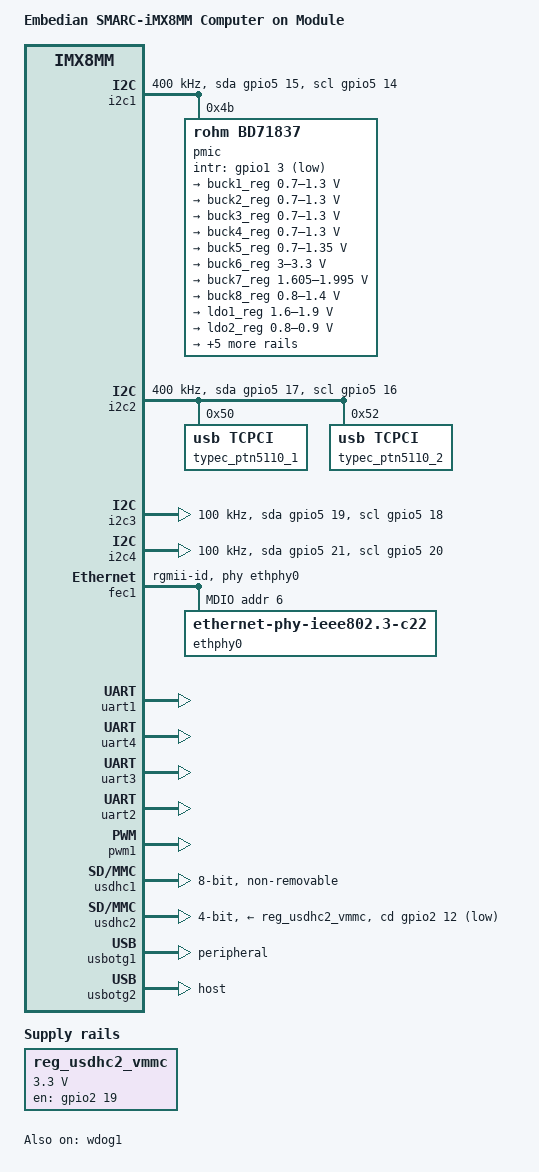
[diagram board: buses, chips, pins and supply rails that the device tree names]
/*
 * Copyright 2018 NXP
 *
 * This program is free software; you can redistribute it and/or
 * modify it under the terms of the GNU General Public License
 * as published by the Free Software Foundation; either version 2
 * of the License, or (at your option) any later version.
 *
 * This program is distributed in the hope that it will be useful,
 * but WITHOUT ANY WARRANTY; without even the implied warranty of
 * MERCHANTABILITY or FITNESS FOR A PARTICULAR PURPOSE.  See the
 * GNU General Public License for more details.
 */

/dts-v1/;

#include "fsl-imx8mm.dtsi"

/ {
	model = "Embedian SMARC-iMX8MM Computer on Module";
	compatible = "embedian,smarcimx8mm", "fsl,imx8mm";

	reg_usdhc2_vmmc: regulator-usdhc2 {
		compatible = "regulator-fixed";
		regulator-name = "VSD_3V3";
		regulator-min-microvolt = <3300000>;
		regulator-max-microvolt = <3300000>;
		gpio = <&gpio2 19 GPIO_ACTIVE_HIGH>;
		enable-active-high;
		startup-delay-us = <100>;
		off-on-delay-us = <12000>;
	};

        backlight: backlight {
                compatible = "pwm-backlight";
                pwms = <&pwm1 0 1000000 0>;
                brightness-levels = < 0  1  2  3  4  5  6  7  8  9
                                     10 11 12 13 14 15 16 17 18 19
                                     20 21 22 23 24 25 26 27 28 29
                                     30 31 32 33 34 35 36 37 38 39
                                     40 41 42 43 44 45 46 47 48 49
                                     50 51 52 53 54 55 56 57 58 59
                                     60 61 62 63 64 65 66 67 68 69
                                     70 71 72 73 74 75 76 77 78 79
                                     80 81 82 83 84 85 86 87 88 89
                                     90 91 92 93 94 95 96 97 98 99
                                    100>;
                default-brightness-level = <80>;
                status = "disabled";
        };
};

&iomuxc {
	pinctrl-names = "default";

	smarc-imx8mm {
		pinctrl_fec1: fec1grp {
			fsl,pins = <
				MX8MM_IOMUXC_ENET_MDC_ENET1_MDC		0x3
				MX8MM_IOMUXC_ENET_MDIO_ENET1_MDIO	0x3
				MX8MM_IOMUXC_ENET_TD3_ENET1_RGMII_TD3	0x1f
				MX8MM_IOMUXC_ENET_TD2_ENET1_RGMII_TD2	0x1f
				MX8MM_IOMUXC_ENET_TD1_ENET1_RGMII_TD1	0x1f
				MX8MM_IOMUXC_ENET_TD0_ENET1_RGMII_TD0	0x1f
				MX8MM_IOMUXC_ENET_RD3_ENET1_RGMII_RD3	0x91
				MX8MM_IOMUXC_ENET_RD2_ENET1_RGMII_RD2	0x91
				MX8MM_IOMUXC_ENET_RD1_ENET1_RGMII_RD1	0x91
				MX8MM_IOMUXC_ENET_RD0_ENET1_RGMII_RD0	0x91
				MX8MM_IOMUXC_ENET_TXC_ENET1_RGMII_TXC	0x1f
				MX8MM_IOMUXC_ENET_RXC_ENET1_RGMII_RXC	0x91
				MX8MM_IOMUXC_ENET_RX_CTL_ENET1_RGMII_RX_CTL	0x91
				MX8MM_IOMUXC_ENET_TX_CTL_ENET1_RGMII_TX_CTL	0x1f
				MX8MM_IOMUXC_NAND_CE3_B_GPIO3_IO4		0x41
			>;
		};

		pinctrl_flexspi0: flexspi0grp {
			fsl,pins = <
				MX8MM_IOMUXC_NAND_ALE_QSPI_A_SCLK	0x1c4
				MX8MM_IOMUXC_NAND_CE0_B_QSPI_A_SS0_B 	0x84

				MX8MM_IOMUXC_NAND_DATA00_QSPI_A_DATA0 	0x84
				MX8MM_IOMUXC_NAND_DATA01_QSPI_A_DATA1 	0x84
				MX8MM_IOMUXC_NAND_DATA02_QSPI_A_DATA2 	0x84
				MX8MM_IOMUXC_NAND_DATA03_QSPI_A_DATA3 	0x84
			>;
		};

                pinctrl_pwm1: pwm1grp {
                        fsl,pins = <
                                MX8MM_IOMUXC_SPDIF_EXT_CLK_PWM1_OUT    	0x06
                        >;
                };

		pinctrl_i2c1: i2c1grp {
			fsl,pins = <
				MX8MM_IOMUXC_I2C1_SCL_I2C1_SCL		0x400001c3
				MX8MM_IOMUXC_I2C1_SDA_I2C1_SDA		0x400001c3
			>;
		};

		pinctrl_i2c2: i2c2grp {
			fsl,pins = <
				MX8MM_IOMUXC_I2C2_SCL_I2C2_SCL		0x400001c3
				MX8MM_IOMUXC_I2C2_SDA_I2C2_SDA		0x400001c3
			>;
		};

		pinctrl_i2c3: i2c3grp {
			fsl,pins = <
				MX8MM_IOMUXC_I2C3_SCL_I2C3_SCL		0x400001c3
				MX8MM_IOMUXC_I2C3_SDA_I2C3_SDA		0x400001c3
			>;
		};

                pinctrl_i2c4: i2c4grp {
                        fsl,pins = <
                                MX8MM_IOMUXC_I2C4_SCL_I2C4_SCL         	0x400001c3
                                MX8MM_IOMUXC_I2C4_SDA_I2C4_SDA         	0x400001c3
                        >;
                };

		pinctrl_i2c1_gpio: i2c1grp-gpio {
			fsl,pins = <
				MX8MM_IOMUXC_I2C1_SCL_GPIO5_IO14        0x1c3
				MX8MM_IOMUXC_I2C1_SDA_GPIO5_IO15        0x1c3
			>;
		};

		pinctrl_i2c2_gpio: i2c2grp-gpio {
			fsl,pins = <
				MX8MM_IOMUXC_I2C2_SCL_GPIO5_IO16        0x1c3
				MX8MM_IOMUXC_I2C2_SDA_GPIO5_IO17        0x1c3
			>;
		};

		pinctrl_i2c3_gpio: i2c3grp-gpio {
			fsl,pins = <
				MX8MM_IOMUXC_I2C3_SCL_GPIO5_IO18        0x1c3
				MX8MM_IOMUXC_I2C3_SDA_GPIO5_IO19        0x1c3
			>;
		};

                pinctrl_i2c4_gpio: i2c4grp-gpio {
                        fsl,pins = <
                                MX8MM_IOMUXC_I2C4_SCL_GPIO5_IO20      	0x1c3
                                MX8MM_IOMUXC_I2C4_SDA_GPIO5_IO21       	0x1c3
                        >;
                };

		pinctrl_pmic: pmicirq {
			fsl,pins = <
				MX8MM_IOMUXC_GPIO1_IO03_GPIO1_IO3	0x41
			>;
		};

                pinctrl_uart1: uart1grp {
                        fsl,pins = <
                                MX8MM_IOMUXC_SAI2_RXC_UART1_DCE_RX     	0x49
                                MX8MM_IOMUXC_SAI2_RXFS_UART1_DCE_TX    	0x49
                                MX8MM_IOMUXC_UART3_TXD_UART1_DCE_RTS_B 	0x49
                                MX8MM_IOMUXC_UART3_RXD_UART1_DCE_CTS_B 	0x49
                        >;
                };

		pinctrl_uart2: uart2grp {
			fsl,pins = <
				MX8MM_IOMUXC_SAI3_TXFS_UART2_DCE_RX	0x49
				MX8MM_IOMUXC_SAI3_TXC_UART2_DCE_TX	0x49
			>;
		};

                pinctrl_uart3: uart3grp {
                        fsl,pins = <
                                MX8MM_IOMUXC_ECSPI1_SCLK_UART3_DCE_RX  		0x49
                                MX8MM_IOMUXC_ECSPI1_MOSI_UART3_DCE_TX  		0x49
                                MX8MM_IOMUXC_ECSPI1_SS0_UART3_DCE_RTS_B		0x49
                                MX8MM_IOMUXC_ECSPI1_MISO_UART3_DCE_CTS_B	0x49
                        >;
                };

                pinctrl_uart4: uart4grp {
                        fsl,pins = <
                                MX8MM_IOMUXC_UART4_RXD_UART4_DCE_RX    	0x49
                                MX8MM_IOMUXC_UART4_TXD_UART4_DCE_TX    	0x49
                        >;
                };

                pinctrl_usdhc1: usdhc1grp {
                        fsl,pins = <
                                MX8MM_IOMUXC_SD1_CLK_USDHC1_CLK              	0x40000190
                                MX8MM_IOMUXC_SD1_CMD_USDHC1_CMD               	0x1d0
                                MX8MM_IOMUXC_SD1_DATA0_USDHC1_DATA0           	0x1d0
                                MX8MM_IOMUXC_SD1_DATA1_USDHC1_DATA1           	0x1d0
                                MX8MM_IOMUXC_SD1_DATA2_USDHC1_DATA2           	0x1d0
                                MX8MM_IOMUXC_SD1_DATA3_USDHC1_DATA3           	0x1d0
                                MX8MM_IOMUXC_SD1_DATA4_USDHC1_DATA4           	0x1d0
                                MX8MM_IOMUXC_SD1_DATA5_USDHC1_DATA5           	0x1d0
                                MX8MM_IOMUXC_SD1_DATA6_USDHC1_DATA6           	0x1d0
                                MX8MM_IOMUXC_SD1_DATA7_USDHC1_DATA7           	0x1d0
                                MX8MM_IOMUXC_SD1_STROBE_USDHC1_STROBE         	0x190
                        >;
                };

                pinctrl_usdhc1_100mhz: usdhc1grp100mhz {
                        fsl,pins = <
                                MX8MM_IOMUXC_SD1_CLK_USDHC1_CLK                 0x40000194
                                MX8MM_IOMUXC_SD1_CMD_USDHC1_CMD                 0x1d4
                                MX8MM_IOMUXC_SD1_DATA0_USDHC1_DATA0             0x1d4
                                MX8MM_IOMUXC_SD1_DATA1_USDHC1_DATA1             0x1d4
                                MX8MM_IOMUXC_SD1_DATA2_USDHC1_DATA2             0x1d4
                                MX8MM_IOMUXC_SD1_DATA3_USDHC1_DATA3             0x1d4
                                MX8MM_IOMUXC_SD1_DATA4_USDHC1_DATA4             0x1d4
                                MX8MM_IOMUXC_SD1_DATA5_USDHC1_DATA5             0x1d4
                                MX8MM_IOMUXC_SD1_DATA6_USDHC1_DATA6             0x1d4
                                MX8MM_IOMUXC_SD1_DATA7_USDHC1_DATA7             0x1d4
                                MX8MM_IOMUXC_SD1_STROBE_USDHC1_STROBE           0x194
                        >;
                };

                pinctrl_usdhc1_200mhz: usdhc1grp200mhz {
                        fsl,pins = <
                                MX8MM_IOMUXC_SD1_CLK_USDHC1_CLK                 0x40000196
                                MX8MM_IOMUXC_SD1_CMD_USDHC1_CMD                 0x1d6
                                MX8MM_IOMUXC_SD1_DATA0_USDHC1_DATA0             0x1d6
                                MX8MM_IOMUXC_SD1_DATA1_USDHC1_DATA1             0x1d6
                                MX8MM_IOMUXC_SD1_DATA2_USDHC1_DATA2             0x1d6
                                MX8MM_IOMUXC_SD1_DATA3_USDHC1_DATA3             0x1d6
                                MX8MM_IOMUXC_SD1_DATA4_USDHC1_DATA4             0x1d6
                                MX8MM_IOMUXC_SD1_DATA5_USDHC1_DATA5             0x1d6
                                MX8MM_IOMUXC_SD1_DATA6_USDHC1_DATA6             0x1d6
                                MX8MM_IOMUXC_SD1_DATA7_USDHC1_DATA7             0x1d6
                                MX8MM_IOMUXC_SD1_STROBE_USDHC1_STROBE           0x196
                        >;
                };

		pinctrl_usdhc2_gpio: usdhc2grpgpio {
			fsl,pins = <
				MX8MM_IOMUXC_SD2_RESET_B_GPIO2_IO19	0x41
			>;
		};

		pinctrl_usdhc2: usdhc2grp {
			fsl,pins = <
				MX8MM_IOMUXC_SD2_CLK_USDHC2_CLK		0x190
				MX8MM_IOMUXC_SD2_CMD_USDHC2_CMD		0x1d0
				MX8MM_IOMUXC_SD2_DATA0_USDHC2_DATA0	0x1d0
				MX8MM_IOMUXC_SD2_DATA1_USDHC2_DATA1	0x1d0
				MX8MM_IOMUXC_SD2_DATA2_USDHC2_DATA2	0x1d0
				MX8MM_IOMUXC_SD2_DATA3_USDHC2_DATA3	0x1d0
				MX8MM_IOMUXC_GPIO1_IO04_USDHC2_VSELECT	0x1d0
			>;
		};

		pinctrl_usdhc2_100mhz: usdhc2grp100mhz {
			fsl,pins = <
				MX8MM_IOMUXC_SD2_CLK_USDHC2_CLK		0x194
				MX8MM_IOMUXC_SD2_CMD_USDHC2_CMD		0x1d4
				MX8MM_IOMUXC_SD2_DATA0_USDHC2_DATA0	0x1d4
				MX8MM_IOMUXC_SD2_DATA1_USDHC2_DATA1	0x1d4
				MX8MM_IOMUXC_SD2_DATA2_USDHC2_DATA2	0x1d4
				MX8MM_IOMUXC_SD2_DATA3_USDHC2_DATA3	0x1d4
				MX8MM_IOMUXC_GPIO1_IO04_USDHC2_VSELECT	0x1d0
			>;
		};

		pinctrl_usdhc2_200mhz: usdhc2grp200mhz {
			fsl,pins = <
				MX8MM_IOMUXC_SD2_CLK_USDHC2_CLK		0x196
				MX8MM_IOMUXC_SD2_CMD_USDHC2_CMD		0x1d6
				MX8MM_IOMUXC_SD2_DATA0_USDHC2_DATA0	0x1d6
				MX8MM_IOMUXC_SD2_DATA1_USDHC2_DATA1	0x1d6
				MX8MM_IOMUXC_SD2_DATA2_USDHC2_DATA2	0x1d6
				MX8MM_IOMUXC_SD2_DATA3_USDHC2_DATA3	0x1d6
				MX8MM_IOMUXC_GPIO1_IO04_USDHC2_VSELECT	0x1d0
			>;
		};

		pinctrl_wdog: wdoggrp {
			fsl,pins = <
				MX8MM_IOMUXC_GPIO1_IO02_WDOG1_WDOG_B	0xc6
			>;
		};
	};
};

&i2c1 {
	clock-frequency = <400000>;
	pinctrl-names = "default", "gpio";
	pinctrl-0 = <&pinctrl_i2c1>;
	pinctrl-1 = <&pinctrl_i2c1_gpio>;
	scl-gpios = <&gpio5 14 GPIO_ACTIVE_HIGH>;
	sda-gpios = <&gpio5 15 GPIO_ACTIVE_HIGH>;
	status = "okay";

	pmic: bd71837@4b {
		reg = <0x4b>;
		compatible = "rohm,bd71837";
		/* PMIC BD71837 PMIC_nINT GPIO1_IO3 */
		pinctrl-0 = <&pinctrl_pmic>;
		gpio_intr = <&gpio1 3 GPIO_ACTIVE_LOW>;

		gpo {
			rohm,drv = <0x0C>;	/* 0b0000_1100 all gpos with cmos output mode */
		};

		regulators {
			#address-cells = <1>;
			#size-cells = <0>;

			bd71837,pmic-buck2-uses-i2c-dvs;
			bd71837,pmic-buck2-dvs-voltage = <1000000>, <900000>, <0>; /* VDD_ARM: Run-Idle */

			buck1_reg: regulator@0 {
				reg = <0>;
				regulator-compatible = "buck1";
				regulator-min-microvolt = <700000>;
				regulator-max-microvolt = <1300000>;
				regulator-boot-on;
				regulator-always-on;
				regulator-ramp-delay = <1250>;
			};

			buck2_reg: regulator@1 {
				reg = <1>;
				regulator-compatible = "buck2";
				regulator-min-microvolt = <700000>;
				regulator-max-microvolt = <1300000>;
				regulator-boot-on;
				regulator-always-on;
				regulator-ramp-delay = <1250>;
			};

			buck3_reg: regulator@2 {
				reg = <2>;
				regulator-compatible = "buck3";
				regulator-min-microvolt = <700000>;
				regulator-max-microvolt = <1300000>;
			};

			buck4_reg: regulator@3 {
				reg = <3>;
				regulator-compatible = "buck4";
				regulator-min-microvolt = <700000>;
				regulator-max-microvolt = <1300000>;
			};

			buck5_reg: regulator@4 {
				reg = <4>;
				regulator-compatible = "buck5";
				regulator-min-microvolt = <700000>;
				regulator-max-microvolt = <1350000>;
				regulator-boot-on;
				regulator-always-on;
			};

			buck6_reg: regulator@5 {
				reg = <5>;
				regulator-compatible = "buck6";
				regulator-min-microvolt = <3000000>;
				regulator-max-microvolt = <3300000>;
				regulator-boot-on;
				regulator-always-on;
			};

			buck7_reg: regulator@6 {
				reg = <6>;
				regulator-compatible = "buck7";
				regulator-min-microvolt = <1605000>;
				regulator-max-microvolt = <1995000>;
				regulator-boot-on;
				regulator-always-on;
			};

			buck8_reg: regulator@7 {
				reg = <7>;
				regulator-compatible = "buck8";
				regulator-min-microvolt = <800000>;
				regulator-max-microvolt = <1400000>;
				regulator-boot-on;
				regulator-always-on;
			};

			ldo1_reg: regulator@8 {
				reg = <8>;
				regulator-compatible = "ldo1";
				regulator-min-microvolt = <1600000>;
				regulator-max-microvolt = <1900000>;
				regulator-boot-on;
				regulator-always-on;
			};

			ldo2_reg: regulator@9 {
				reg = <9>;
				regulator-compatible = "ldo2";
				regulator-min-microvolt = <800000>;
				regulator-max-microvolt = <900000>;
				regulator-boot-on;
				regulator-always-on;
			};

			ldo3_reg: regulator@10 {
				reg = <10>;
				regulator-compatible = "ldo3";
				regulator-min-microvolt = <1800000>;
				regulator-max-microvolt = <3300000>;
				regulator-boot-on;
				regulator-always-on;
			};

			ldo4_reg: regulator@11 {
				reg = <11>;
				regulator-compatible = "ldo4";
				regulator-min-microvolt = <900000>;
				regulator-max-microvolt = <1800000>;
				regulator-boot-on;
				regulator-always-on;
			};

			ldo5_reg: regulator@12 {
				reg = <12>;
				regulator-compatible = "ldo5";
				regulator-min-microvolt = <1800000>;
				regulator-max-microvolt = <3300000>;
			};

			ldo6_reg: regulator@13 {
				reg = <13>;
				regulator-compatible = "ldo6";
				regulator-min-microvolt = <900000>;
				regulator-max-microvolt = <1800000>;
				regulator-boot-on;
				regulator-always-on;
			};

			ldo7_reg: regulator@14 {
				reg = <14>;
				regulator-compatible = "ldo7";
				regulator-min-microvolt = <1800000>;
				regulator-max-microvolt = <3300000>;
			};
		};
	};
};

&i2c2 {
	clock-frequency = <400000>;
	pinctrl-names = "default", "gpio";
	pinctrl-0 = <&pinctrl_i2c2>;
	pinctrl-1 = <&pinctrl_i2c2_gpio>;
	scl-gpios = <&gpio5 16 GPIO_ACTIVE_HIGH>;
	sda-gpios = <&gpio5 17 GPIO_ACTIVE_HIGH>;
	status = "okay";

	typec_ptn5110_1: ptn5110@50 {
		compatible = "usb,tcpci";
		reg = <0x50>;
		src-pdos = <0x380190c8>;
		snk-pdos = <0x380190c8 0x3802d0c8>;
		max-snk-mv = <9000>;
		max-snk-ma = <2000>;
		op-snk-mw = <9000>;
		max-snk-mw = <18000>;
		port-type = "drp";
		default-role = "sink";
	};

	typec_ptn5110_2: ptn5110@52 {
		compatible = "usb,tcpci";
		reg = <0x52>;
		src-pdos = <0x380190c8>;
		snk-pdos = <0x380190c8 0x3802d0c8>;
		max-snk-mv = <9000>;
		max-snk-ma = <2000>;
		op-snk-mw = <9000>;
		max-snk-mw = <18000>;
		port-type = "drp";
		default-role = "sink";
	};
};

&i2c3 {
	clock-frequency = <100000>;
	pinctrl-names = "default", "gpio";
	pinctrl-0 = <&pinctrl_i2c3>;
	pinctrl-1 = <&pinctrl_i2c3_gpio>;
	scl-gpios = <&gpio5 18 GPIO_ACTIVE_HIGH>;
	sda-gpios = <&gpio5 19 GPIO_ACTIVE_HIGH>;
	status = "okay";
};

&i2c4 {
        clock-frequency = <100000>;
        pinctrl-names = "default", "gpio";
        pinctrl-0 = <&pinctrl_i2c4>;
        pinctrl-1 = <&pinctrl_i2c4_gpio>;
        scl-gpios = <&gpio5 20 GPIO_ACTIVE_HIGH>;
        sda-gpios = <&gpio5 21 GPIO_ACTIVE_HIGH>;
        status = "okay";
};

&fec1 {
	pinctrl-names = "default";
	pinctrl-0 = <&pinctrl_fec1>;
	phy-mode = "rgmii-id";
	phy-handle = <&ethphy0>;
	fsl,magic-packet;
	status = "okay";

	mdio {
		#address-cells = <1>;
		#size-cells = <0>;

		ethphy0: ethernet-phy@0 {
			compatible = "ethernet-phy-ieee802.3-c22";
			reg = <6>;
			at803x,led-act-blind-workaround;
			at803x,eee-okay;
			at803x,vddio-1p8v;
		};
	};
};

/* SER0 */
&uart1 {
        pinctrl-names = "default";
        pinctrl-0 = <&pinctrl_uart1>;
        assigned-clocks = <&clk IMX8MM_CLK_UART1_SRC>;
        assigned-clock-parents = <&clk IMX8MM_SYS_PLL1_80M>;
        uart-has-rtscts;
        status = "okay";
};

/* SER1 */
&uart4 {
        pinctrl-names = "default";
        pinctrl-0 = <&pinctrl_uart4>;
        status = "okay";
};

/* SER2 */
&uart3 {
        pinctrl-names = "default";
        pinctrl-0 = <&pinctrl_uart3>;
        assigned-clocks = <&clk IMX8MM_CLK_UART3_SRC>;
        assigned-clock-parents = <&clk IMX8MM_SYS_PLL1_80M>;
        uart-has-rtscts;
        status = "okay";
};

/* SER3 */
&uart2 { /* console */
	pinctrl-names = "default";
	pinctrl-0 = <&pinctrl_uart2>;
	status = "okay";
};

&pwm1 {
        status = "okay";
        pinctrl-names = "default";
        pinctrl-0 = <&pinctrl_pwm1>;
};

&usdhc1 {
        pinctrl-names = "default", "state_100mhz", "state_200mhz";
        pinctrl-0 = <&pinctrl_usdhc1>;
        pinctrl-1 = <&pinctrl_usdhc1_100mhz>;
        pinctrl-2 = <&pinctrl_usdhc1_200mhz>;
        bus-width = <8>;
        non-removable;
        status = "okay";
};

&usdhc2 {
	pinctrl-names = "default", "state_100mhz", "state_200mhz";
	pinctrl-0 = <&pinctrl_usdhc2>, <&pinctrl_usdhc2_gpio>;
	pinctrl-1 = <&pinctrl_usdhc2_100mhz>, <&pinctrl_usdhc2_gpio>;
	pinctrl-2 = <&pinctrl_usdhc2_200mhz>, <&pinctrl_usdhc2_gpio>;
	bus-width = <4>;
        cd-gpios = <&gpio2 12 GPIO_ACTIVE_LOW>;
	vmmc-supply = <&reg_usdhc2_vmmc>;
	status = "okay";
};

&wdog1 {
	pinctrl-names = "default";
	pinctrl-0 = <&pinctrl_wdog>;
	fsl,ext-reset-output;
	status = "okay";
};

&A53_0 {
	arm-supply = <&buck2_reg>;
};

&usbotg1 {
	status = "okay";
        dr_mode = "peripheral";
};

&usbotg2 {
	status = "okay";
        dr_mode = "host";
};
